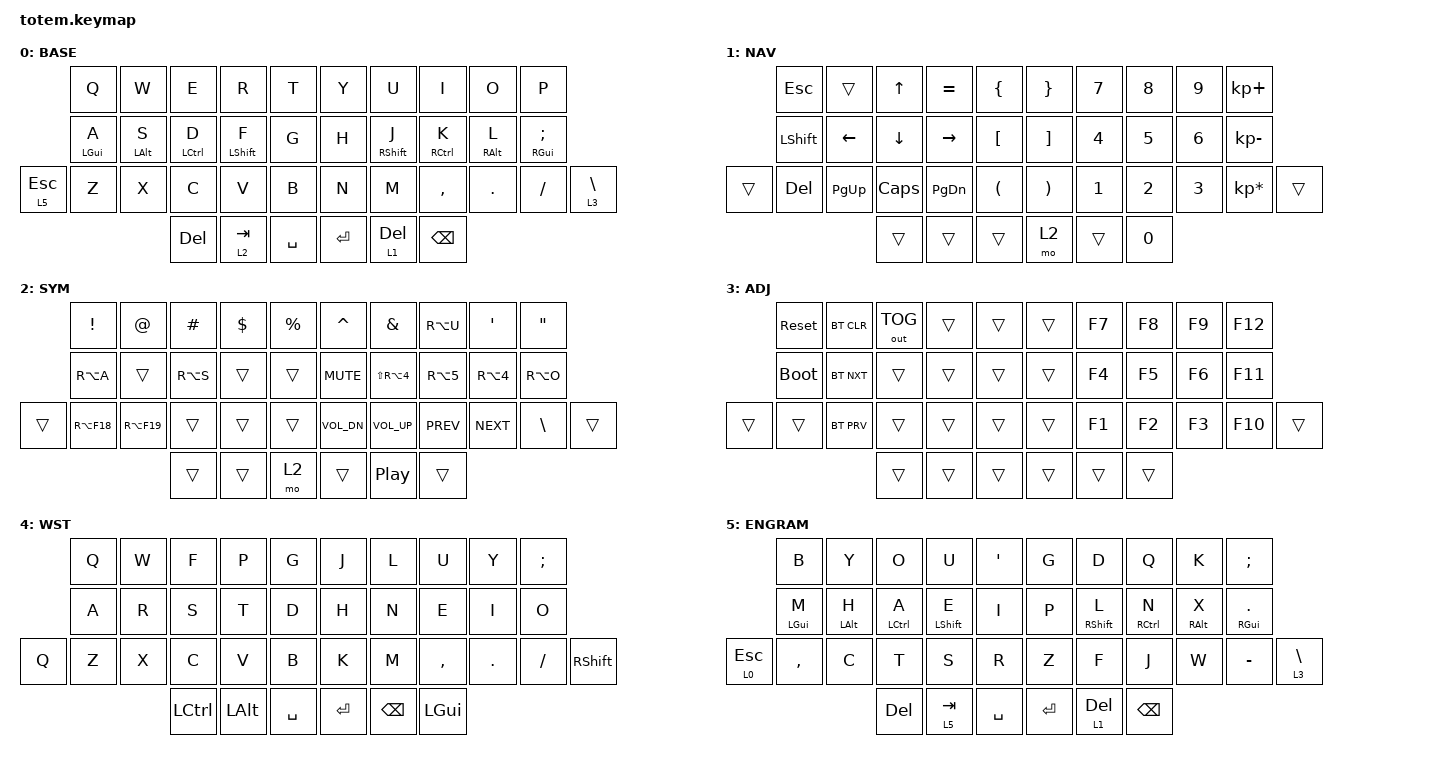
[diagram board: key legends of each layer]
//
//                                                        ▀▀▀▀▀     ▀▀▀▀▀          ▀▀█▀▀
//                                                        ▄▀▀▀▄  ▄  ▄▀▀▀▄  ▄  ▄▀▀▀▄  █  ▄▀▀▀▄
//                                                        █   █  █  █   █  █  █   █  █  █   █
//                                                         ▀▀▀   █   ▀▀▀   █   ▀▀▀   ▀   ▀▀▀
//                                                               █      ▄▄▄█▄▄▄    █   █  
//                                                               ▀      █  █  █     █▄█
//                                                             ▀▀▀▀▀    █  █  █      ▀
//                                                                      ▀  ▀  ▀
//
// ▄▄▄▄▄▄▄▄▄▄▄▄▄▄▄▄▄▄▄▄▄▄▄▄▄▄▄▄▄▄▄▄▄▄▄▄▄▄▄▄▄▄▄▄▄▄▄▄▄▄▄▄▄▄▄▄▄▄▄▄▄▄▄▄▄▄▄▄▄▄▄▄▄▄▄▄▄▄▄▄▄▄▄▄▄▄▄▄▄▄▄▄▄▄▄▄▄▄▄▄▄▄▄▄▄▄▄▄▄▄▄▄▄▄▄▄▄▄▄▄▄▄▄▄▄▄▄▄▄▄▄▄▄▄▄▄▄▄▄▄▄▄▄▄▄▄▄▄▄

#include <behaviors.dtsi>
#include <dt-bindings/zmk/bt.h>
#include <dt-bindings/zmk/keys.h>
#include <dt-bindings/zmk/outputs.h>

#define ENGRAM 0
#define NAV  1
#define SYM  2
#define ADJ  3
#define WST   4

&mt {
    quick-tap-ms = <100>;
    global-quick-tap;
    flavor = "tap-preferred";
    tapping-term-ms = <170>;
};

/ {
    combos {
        compatible = "zmk,combos";

        // --- Combos WS --- //

        rename {
            bindings = <&macro_rename>;
            key-positions = <0 1>;
            layers = <3>;
            timeout-ms = <3>;
        };

        LALA {
            bindings = <&new_macro>;
            key-positions = <32 33 34>;
        };
    };

    macros {
        macro_rename: macro_rename {
            compatible = "zmk,behavior-macro";
            #binding-cells = <0>;
            bindings = <&macro_press>, <&kp LSHFT>, <&macro_tap>, <&kp F6>;
        };

        new_macro: new_macro {
            compatible = "zmk,behavior-macro";
            #binding-cells = <0>;
            bindings = <&none &kp LS(L) &kp LS(A) &kp LS(L) &kp LS(A) &kp LS(L) &kp LS(A) &kp LS(L) &kp LS(A) &kp LS(L) &kp LS(A) &kp LS(L) &kp LS(A) &kp LS(L) &kp LS(A) &kp LS(L) &kp LS(A) &kp LS(L) &kp LS(A) &kp LS(L) &kp LS(A) &kp LS(L) &kp LS(A)>;
            label = "NEW_MACRO";
        };
    };

    keymap {
        compatible = "zmk,keymap";

        // ▄▄▄▄▄▄▄▄▄▄▄▄▄▄▄▄▄▄▄▄▄▄▄▄▄▄▄▄▄▄▄▄▄▄▄▄▄▄▄▄▄▄▄▄▄▄▄▄▄▄▄▄▄▄▄▄▄▄▄▄▄▄▄▄▄▄▄▄▄▄▄▄▄▄▄▄▄▄▄▄▄▄▄▄▄▄▄▄▄▄▄▄▄▄▄▄▄▄▄▄▄▄▄▄▄▄▄▄▄▄▄▄▄▄▄▄▄▄▄▄▄▄▄▄▄▄▄▄▄▄▄▄▄▄▄▄▄▄▄▄▄▄▄▄▄▄▄▄▄

        base_layer {
            // ┏━━━━━━━━━━━━━━━━━━━━━━━━━━━━━━━━━━━━━━━┓

            label = "BASE";

            // ┗━━━━━━━━━━━━━━━━━━━━━━━━━━━━━━━━━━━━━━━┛
            //             ┏━━━━━━━━━━━┳━━━━━━━━━━━┳━━━━━━━━━━━┳━━━━━━━━━━━┳━━━━━━━━━━━┓   ┏━━━━━━━━━━━┳━━━━━━━━━━━┳━━━━━━━━━━━┳━━━━━━━━━━━┳━━━━━━━━━━━┓
            //             ┃     Q     ┃     W     ┃     E     ┃     R     ┃     T     ┃   ┃     Y     ┃     U     ┃     I     ┃     O     ┃     P     ┃
            //             ┣━━━━━━━━━━━╋━━━━━━━━━━━╋━━━━━━━━━━━╋━━━━━━━━━━━╋━━━━━━━━━━━┫   ┣━━━━━━━━━━━╋━━━━━━━━━━━╋━━━━━━━━━━━╋━━━━━━━━━━━╋━━━━━━━━━━━┫
            //             ┃     A     ┃     S     ┃     D     ┃     F     ┃     G     ┃   ┃     H     ┃     J     ┃     K     ┃     L     ┃     ;     ┃
            // ┏━━━━━━━━━━━╋━━━━━━━━━━━╋━━━━━━━━━━━╋━━━━━━━━━━━╋━━━━━━━━━━━╋━━━━━━━━━━━┫   ┣━━━━━━━━━━━╋━━━━━━━━━━━╋━━━━━━━━━━━╋━━━━━━━━━━━╋━━━━━━━━━━━╋━━━━━━━━━━━┓
            // ┃     Q     ┃     Z     ┃     X     ┃     C     ┃     V     ┃     B     ┃   ┃     N     ┃     M     ┃     ,     ┃     .     ┃     /     ┃     \     ┃
            // ┗━━━━━━━━━━━┻━━━━━━━━━━━┻━━━━━━━━━━━╋━━━━━━━━━━━╋━━━━━━━━━━━╋━━━━━━━━━━━┫   ┣━━━━━━━━━━━╋━━━━━━━━━━━╋━━━━━━━━━━━╋━━━━━━━━━━━┻━━━━━━━━━━━┻━━━━━━━━━━━┛
            //                                     ┃    DEL    ┃    TAB    ┃    SPC    ┃   ┃   ENTER   ┃           ┃   BSPC    ┃
            //                                     ┗━━━━━━━━━━━┻━━━━━━━━━━━┻━━━━━━━━━━━┛   ┗━━━━━━━━━━━┻━━━━━━━━━━━┻━━━━━━━━━━━┛

            bindings = <
           &kp Q       &kp W       &kp E        &kp R        &kp T        &kp Y    &kp U        &kp I        &kp O       &kp P
           &mt LGUI A  &mt LALT S  &mt LCTRL D  &mt LSHFT F  &kp G        &kp H    &mt RSHFT J  &mt RCTRL K  &mt RALT L  &mt RGUI SEMI
&lt 5 ESC  &kp Z       &kp X       &kp C        &kp V        &kp B        &kp N    &kp M        &kp COMMA    &kp DOT     &kp FSLH       &lt 3 BSLH
                                   &kp DEL      &lt 2 TAB    &kp SPACE    &kp RET  &lt 1 DEL    &kp BSPC
            >;
        };

        nav_layer {
            // ┏━━━━━━━━━━━━━━━━━━━━━━━━━━━━━━━━━━━━━━━┓

            label = "NAV";

            // ┗━━━━━━━━━━━━━━━━━━━━━━━━━━━━━━━━━━━━━━━┛
            //             ┏━━━━━━━━━━━┳━━━━━━━━━━━┳━━━━━━━━━━━┳━━━━━━━━━━━┳━━━━━━━━━━━┓   ┏━━━━━━━━━━━┳━━━━━━━━━━━┳━━━━━━━━━━━┳━━━━━━━━━━━┳━━━━━━━━━━━┓
            //             ┃           ┃           ┃     UP    ┃           ┃     {     ┃   ┃     }     ┃     7     ┃     8     ┃     9     ┃     +     ┃
            //             ┣━━━━━━━━━━━╋━━━━━━━━━━━╋━━━━━━━━━━━╋━━━━━━━━━━━╋━━━━━━━━━━━┫   ┣━━━━━━━━━━━╋━━━━━━━━━━━╋━━━━━━━━━━━╋━━━━━━━━━━━╋━━━━━━━━━━━┫
            //             ┃   SHIFT   ┃   LEFT    ┃    DOWN   ┃   RIGHT   ┃     [     ┃   ┃     ]     ┃     4     ┃     5     ┃     6     ┃     -     ┃
            // ┏━━━━━━━━━━━╋━━━━━━━━━━━╋━━━━━━━━━━━╋━━━━━━━━━━━╋━━━━━━━━━━━╋━━━━━━━━━━━┫   ┣━━━━━━━━━━━╋━━━━━━━━━━━╋━━━━━━━━━━━╋━━━━━━━━━━━╋━━━━━━━━━━━╋━━━━━━━━━━━┓
            // ┃           ┃           ┃   P UP    ┃  C LOCK   ┃  P DOWN   ┃     (     ┃   ┃     )     ┃     1     ┃     2     ┃     3     ┃     *     ┃           ┃
            // ┗━━━━━━━━━━━┻━━━━━━━━━━━┻━━━━━━━━━━━╋━━━━━━━━━━━╋━━━━━━━━━━━╋━━━━━━━━━━━┫   ┣━━━━━━━━━━━╋━━━━━━━━━━━╋━━━━━━━━━━━╋━━━━━━━━━━━┻━━━━━━━━━━━┻━━━━━━━━━━━┛
            //                                     ┃           ┃    TAB    ┃    SPC    ┃   ┃    DEL    ┃     0     ┃           ┃
            //                                     ┗━━━━━━━━━━━┻━━━━━━━━━━━┻━━━━━━━━━━━┛   ┗━━━━━━━━━━━┻━━━━━━━━━━━┻━━━━━━━━━━━┛

            bindings = <
        &kp ESC    &trans     &kp UP    &kp EQUAL  &kp LBRC    &kp RBRC  &kp NUMBER_7  &kp NUMBER_8  &kp NUMBER_9  &kp KP_PLUS
        &kp LSHFT  &kp LEFT   &kp DOWN  &kp RIGHT  &kp LBKT    &kp RBKT  &kp NUMBER_4  &kp NUMBER_5  &kp NUMBER_6  &kp KP_MINUS
&trans  &kp DEL    &kp PG_UP  &kp CAPS  &kp PG_DN  &kp LPAR    &kp RPAR  &kp NUMBER_1  &kp NUMBER_2  &kp NUMBER_3  &kp KP_MULTIPLY  &trans
                              &trans    &trans     &trans      &mo 2     &trans        &kp NUMBER_0
            >;
        };

        sim_layer {
            // ┏━━━━━━━━━━━━━━━━━━━━━━━━━━━━━━━━━━━━━━━┓

            label = "SYM";

            // ┗━━━━━━━━━━━━━━━━━━━━━━━━━━━━━━━━━━━━━━━┛
            //             ┏━━━━━━━━━━━┳━━━━━━━━━━━┳━━━━━━━━━━━┳━━━━━━━━━━━┳━━━━━━━━━━━┓   ┏━━━━━━━━━━━┳━━━━━━━━━━━┳━━━━━━━━━━━┳━━━━━━━━━━━┳━━━━━━━━━━━┓
            //             ┃     !     ┃     @     ┃     #     ┃     $     ┃     %     ┃   ┃     ˆ     ┃     &     ┃     Ü     ┃     '     ┃     "     ┃
            //             ┣━━━━━━━━━━━╋━━━━━━━━━━━╋━━━━━━━━━━━╋━━━━━━━━━━━╋━━━━━━━━━━━┫   ┣━━━━━━━━━━━╋━━━━━━━━━━━╋━━━━━━━━━━━╋━━━━━━━━━━━╋━━━━━━━━━━━┫
            //             ┃     Ä     ┃           ┃    SZ     ┃           ┃           ┃   ┃   MUTE    ┃   YEN     ┃   EURO    ┃  POUND    ┃     Ö     ┃
            // ┏━━━━━━━━━━━╋━━━━━━━━━━━╋━━━━━━━━━━━╋━━━━━━━━━━━╋━━━━━━━━━━━╋━━━━━━━━━━━┫   ┣━━━━━━━━━━━╋━━━━━━━━━━━╋━━━━━━━━━━━╋━━━━━━━━━━━╋━━━━━━━━━━━╋━━━━━━━━━━━┓
            // ┃           ┃  EMAIL1   ┃  EMAIL2   ┃           ┃           ┃           ┃   ┃   VOL-    ┃   VOL+    ┃   LAST    ┃   NEXT    ┃     \     ┃           ┃
            // ┗━━━━━━━━━━━┻━━━━━━━━━━━┻━━━━━━━━━━━╋━━━━━━━━━━━╋━━━━━━━━━━━╋━━━━━━━━━━━┫   ┣━━━━━━━━━━━╋━━━━━━━━━━━╋━━━━━━━━━━━╋━━━━━━━━━━━┻━━━━━━━━━━━┻━━━━━━━━━━━┛
            //                                     ┃           ┃           ┃    ADJ    ┃   ┃           ┃           ┃           ┃
            //                                     ┗━━━━━━━━━━━┻━━━━━━━━━━━┻━━━━━━━━━━━┛   ┗━━━━━━━━━━━┻━━━━━━━━━━━┻━━━━━━━━━━━┛

            bindings = <
        &kp EXCL     &kp AT       &kp HASH   &kp DLLR  &kp PRCNT    &kp CARET     &kp AMPS        &kp RA(U)   &kp SQT     &kp DQT
        &kp RA(A)    &trans       &kp RA(S)  &trans    &trans       &kp C_MUTE    &kp LS(RA(N4))  &kp RA(N5)  &kp RA(N4)  &kp RA(O)
&trans  &kp RA(F18)  &kp RA(F19)  &trans     &trans    &trans       &kp C_VOL_DN  &kp C_VOL_UP    &kp C_PREV  &kp C_NEXT  &kp BSLH   &trans
                                  &trans     &trans    &mo 2        &trans        &kp C_PP        &trans
            >;
        };

        adjust_layer {
            // ┏━━━━━━━━━━━━━━━━━━━━━━━━━━━━━━━━━━━━━━━┓

            label = "ADJ";

            // ┗━━━━━━━━━━━━━━━━━━━━━━━━━━━━━━━━━━━━━━━┛
            //             ┏━━━━━━━━━━━┳━━━━━━━━━━━┳━━━━━━━━━━━┳━━━━━━━━━━━┳━━━━━━━━━━━┓   ┏━━━━━━━━━━━┳━━━━━━━━━━━┳━━━━━━━━━━━┳━━━━━━━━━━━┳━━━━━━━━━━━┓
            //             ┃   RESET   ┃ BT CLEAR  ┃  OUT TOG  ┃           ┃           ┃   ┃           ┃    F7     ┃    F8     ┃    F9     ┃    F12    ┃
            //             ┣━━━━━━━━━━━╋━━━━━━━━━━━╋━━━━━━━━━━━╋━━━━━━━━━━━╋━━━━━━━━━━━┫   ┣━━━━━━━━━━━╋━━━━━━━━━━━╋━━━━━━━━━━━╋━━━━━━━━━━━╋━━━━━━━━━━━┫
            //             ┃ BOOTLOAD  ┃ BT NEXT   ┃           ┃           ┃           ┃   ┃           ┃    F4     ┃    F5     ┃    F6     ┃    F11    ┃
            // ┏━━━━━━━━━━━╋━━━━━━━━━━━╋━━━━━━━━━━━╋━━━━━━━━━━━╋━━━━━━━━━━━╋━━━━━━━━━━━┫   ┣━━━━━━━━━━━╋━━━━━━━━━━━╋━━━━━━━━━━━╋━━━━━━━━━━━╋━━━━━━━━━━━╋━━━━━━━━━━━┓
            // ┃           ┃           ┃ BT PREV   ┃           ┃           ┃           ┃   ┃           ┃    F1     ┃    F2     ┃    F3     ┃    F10    ┃           ┃
            // ┗━━━━━━━━━━━┻━━━━━━━━━━━┻━━━━━━━━━━━╋━━━━━━━━━━━╋━━━━━━━━━━━╋━━━━━━━━━━━┫   ┣━━━━━━━━━━━╋━━━━━━━━━━━╋━━━━━━━━━━━╋━━━━━━━━━━━┻━━━━━━━━━━━┻━━━━━━━━━━━┛
            //                                     ┃           ┃           ┃           ┃   ┃           ┃           ┃           ┃
            //                                     ┗━━━━━━━━━━━┻━━━━━━━━━━━┻━━━━━━━━━━━┛   ┗━━━━━━━━━━━┻━━━━━━━━━━━┻━━━━━━━━━━━┛

            bindings = <
        &sys_reset   &bt BT_CLR  &out OUT_TOG  &trans  &trans    &trans  &kp F7  &kp F8  &kp F9  &kp F12
        &bootloader  &bt BT_NXT  &trans        &trans  &trans    &trans  &kp F4  &kp F5  &kp F6  &kp F11
&trans  &trans       &bt BT_PRV  &trans        &trans  &trans    &trans  &kp F1  &kp F2  &kp F3  &kp F10  &trans
                                 &trans        &trans  &trans    &trans  &trans  &trans
            >;
        };

        ws_layer {
            // ┏━━━━━━━━━━━━━━━━━━━━━━━━━━━━━━━━━━━━━━━┓

            label = "WST";

            // ┗━━━━━━━━━━━━━━━━━━━━━━━━━━━━━━━━━━━━━━━┛
            //             ┏━━━━━━━━━━━┳━━━━━━━━━━━┳━━━━━━━━━━━┳━━━━━━━━━━━┳━━━━━━━━━━━┓   ┏━━━━━━━━━━━┳━━━━━━━━━━━┳━━━━━━━━━━━┳━━━━━━━━━━━┳━━━━━━━━━━━┓
            //             ┃           ┃           ┃           ┃           ┃           ┃   ┃           ┃           ┃           ┃           ┃           ┃
            //             ┣━━━━━━━━━━━╋━━━━━━━━━━━╋━━━━━━━━━━━╋━━━━━━━━━━━╋━━━━━━━━━━━┫   ┣━━━━━━━━━━━╋━━━━━━━━━━━╋━━━━━━━━━━━╋━━━━━━━━━━━╋━━━━━━━━━━━┫
            //             ┃           ┃           ┃           ┃           ┃           ┃   ┃           ┃           ┃           ┃           ┃           ┃
            // ┏━━━━━━━━━━━╋━━━━━━━━━━━╋━━━━━━━━━━━╋━━━━━━━━━━━╋━━━━━━━━━━━╋━━━━━━━━━━━┫   ┣━━━━━━━━━━━╋━━━━━━━━━━━╋━━━━━━━━━━━╋━━━━━━━━━━━╋━━━━━━━━━━━╋━━━━━━━━━━━┓
            // ┃           ┃           ┃           ┃           ┃           ┃           ┃   ┃           ┃           ┃           ┃           ┃           ┃           ┃
            // ┗━━━━━━━━━━━┻━━━━━━━━━━━┻━━━━━━━━━━━╋━━━━━━━━━━━╋━━━━━━━━━━━╋━━━━━━━━━━━┫   ┣━━━━━━━━━━━╋━━━━━━━━━━━╋━━━━━━━━━━━╋━━━━━━━━━━━┻━━━━━━━━━━━┻━━━━━━━━━━━┛
            //                                     ┃           ┃           ┃           ┃   ┃           ┃           ┃           ┃
            //                                     ┗━━━━━━━━━━━┻━━━━━━━━━━━┻━━━━━━━━━━━┛   ┗━━━━━━━━━━━┻━━━━━━━━━━━┻━━━━━━━━━━━┛

            bindings = <
       &kp Q  &kp W  &kp F      &kp P     &kp G        &kp J      &kp L     &kp U      &kp Y    &kp SEMI
       &kp A  &kp R  &kp S      &kp T     &kp D        &kp H      &kp N     &kp E      &kp I    &kp O
&kp Q  &kp Z  &kp X  &kp C      &kp V     &kp B        &kp K      &kp M     &kp COMMA  &kp DOT  &kp FSLH  &kp RSHFT
                     &kp LCTRL  &kp LALT  &kp SPACE    &kp ENTER  &kp BSPC  &kp LGUI
            >;
        };

        engram_layer {
            label = "ENGRAM";
            bindings = <
           &kp B       &kp Y       &kp O        &kp U        &kp SQT      &kp G    &kp D        &kp Q        &kp K       &kp SEMI
           &mt LGUI M  &mt LALT H  &mt LCTRL A  &mt LSHFT E  &kp I        &kp P    &mt RSHFT L  &mt RCTRL N  &mt RALT X  &mt RGUI DOT
&lt 0 ESC  &kp COMMA   &kp C       &kp T        &kp S        &kp R        &kp Z    &kp F        &kp J        &kp W       &kp MINUS     &lt 3 BSLH
                                   &kp DEL      &lt 5 TAB    &kp SPACE    &kp RET  &lt 1 DEL    &kp BSPC
            >;
        };

        // ▄▄▄▄▄▄▄▄▄▄▄▄▄▄▄▄▄▄▄▄▄▄▄▄▄▄▄▄▄▄▄▄▄▄▄▄▄▄▄▄▄▄▄▄▄▄▄▄▄▄▄▄▄▄▄▄▄▄▄▄▄▄▄▄▄▄▄▄▄▄▄▄▄▄▄▄▄▄▄▄▄▄▄▄▄▄▄▄▄▄▄▄▄▄▄▄▄▄▄▄▄▄▄▄▄▄▄▄▄▄▄▄▄▄▄▄▄▄▄▄▄▄▄▄▄▄▄▄▄▄▄▄▄▄▄▄▄▄▄▄▄▄▄▄▄▄▄▄▄
    };
};
